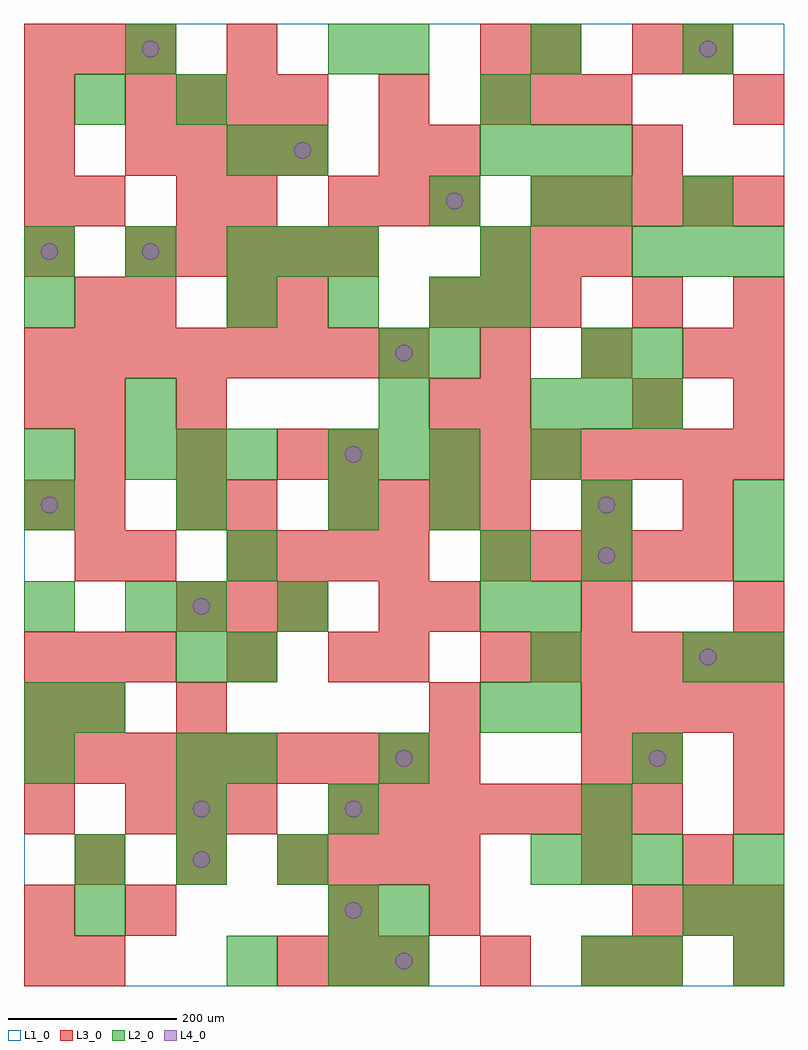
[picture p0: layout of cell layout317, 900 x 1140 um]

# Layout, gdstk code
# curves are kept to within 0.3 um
import gdstk
lib = gdstk.Library(unit=1e-6, precision=1e-09)
def R(c, l, rs):  # rectangles x0, y0, x1, y1
    for r in rs: c.add(gdstk.rectangle(r[:2], r[2:], *l))
def A(c, l, x, y, w, h, nx, ny, dx, dy):  # array of equal rectangles
    R(c, l, [(x+i*dx, y+j*dy, x+i*dx+w, y+j*dy+h) for i in range(nx) for j in range(ny)])
def P(c, l, *ps):  # polygons
    for p in ps: c.add(gdstk.Polygon(p, *l))
L1_0 = (1, 0)
L2_0 = (2, 0)
L3_0 = (3, 0)
L4_0 = (4, 0)

layout317 = lib.new_cell('layout317')
R(layout317, L1_0, [(0,0,900,1140)])
A(layout317, L2_0, 840, 0, 60, 60, 1, 3, 0, 60)
A(layout317, L2_0, 60, 120, 60, 60, 3, 1, 120, 0)
A(layout317, L2_0, 600, 120, 60, 60, 3, 2, 60, 540)
A(layout317, L2_0, 240, 240, 60, 60, 1, 3, 0, 120)
A(layout317, L2_0, 600, 300, 60, 60, 1, 3, 0, 60)
A(layout317, L2_0, 0, 420, 60, 60, 1, 3, 0, 180)
A(layout317, L2_0, 0, 540, 60, 60, 3, 1, 180, 0)
A(layout317, L2_0, 480, 540, 60, 60, 3, 1, 180, 0)
A(layout317, L2_0, 120, 600, 60, 60, 3, 1, 60, 0)
A(layout317, L2_0, 360, 600, 60, 60, 3, 1, 60, 0)
A(layout317, L2_0, 240, 780, 60, 60, 3, 1, 120, 0)
A(layout317, L2_0, 0, 840, 60, 60, 3, 1, 120, 0)
A(layout317, L2_0, 360, 840, 60, 60, 3, 1, 180, 0)
A(layout317, L2_0, 540, 960, 60, 60, 3, 1, 60, 0)
A(layout317, L2_0, 420, 1080, 60, 60, 3, 1, 180, 0)
R(layout317, L2_0, [(240,0,300,60), (360,0,420,60), (420,0,480,60), (660,0,720,60), (720,0,780,60), (60,60,120,120), (360,60,420,120), (420,60,480,120), (780,60,840,120), (180,180,240,240), (360,180,420,240), (660,180,720,240), (0,240,60,300), (180,240,240,300), (420,240,480,300), (720,240,780,300), (0,300,60,360), (60,300,120,360), (540,300,600,360), (180,360,240,420), (780,360,840,420), (840,360,900,420), (120,420,180,480), (180,420,240,480), (300,420,360,480), (540,420,600,480), (540,480,600,540), (660,480,720,540), (840,480,900,540), (600,600,660,660), (120,660,180,720), (420,660,480,720), (420,720,480,780), (480,720,540,780), (660,720,720,780), (720,720,780,780), (540,780,600,840), (300,840,360,900), (780,840,840,900), (840,840,900,900), (480,900,540,960), (600,900,660,960), (660,900,720,960), (780,900,840,960), (240,960,300,1020), (300,960,360,1020), (60,1020,120,1080), (180,1020,240,1080), (540,1020,600,1080), (120,1080,180,1140), (360,1080,420,1140)])
A(layout317, L3_0, 300, 0, 60, 60, 3, 1, 60, 0)
A(layout317, L3_0, 660, 0, 60, 60, 1, 3, 0, 120)
A(layout317, L3_0, 0, 60, 60, 60, 1, 3, 0, 120)
A(layout317, L3_0, 720, 60, 60, 60, 3, 1, 60, 0)
A(layout317, L3_0, 60, 120, 60, 60, 3, 2, 120, 480)
A(layout317, L3_0, 360, 120, 60, 60, 3, 2, 60, 780)
A(layout317, L3_0, 120, 180, 60, 60, 3, 1, 60, 0)
A(layout317, L3_0, 360, 180, 60, 60, 7, 1, 60, 0)
A(layout317, L3_0, 0, 240, 60, 60, 9, 1, 60, 0)
A(layout317, L3_0, 660, 300, 60, 60, 4, 1, 60, 0)
A(layout317, L3_0, 0, 360, 60, 60, 3, 2, 60, 720)
A(layout317, L3_0, 540, 360, 60, 60, 6, 1, 60, 0)
A(layout317, L3_0, 180, 420, 60, 60, 3, 1, 60, 0)
A(layout317, L3_0, 480, 420, 60, 60, 3, 1, 180, 0)
A(layout317, L3_0, 240, 480, 60, 60, 4, 1, 60, 0)
A(layout317, L3_0, 540, 480, 60, 60, 5, 1, 60, 0)
A(layout317, L3_0, 60, 540, 60, 60, 1, 4, 0, 120)
A(layout317, L3_0, 360, 540, 60, 60, 4, 1, 60, 0)
A(layout317, L3_0, 480, 600, 60, 60, 7, 1, 60, 0)
A(layout317, L3_0, 840, 660, 60, 60, 1, 3, 0, 60)
A(layout317, L3_0, 0, 720, 60, 60, 8, 1, 60, 0)
A(layout317, L3_0, 540, 720, 60, 60, 3, 1, 120, 0)
A(layout317, L3_0, 480, 780, 60, 60, 3, 1, 60, 0)
A(layout317, L3_0, 0, 840, 60, 60, 1, 4, 0, 60)
A(layout317, L3_0, 120, 840, 60, 60, 5, 1, 60, 0)
A(layout317, L3_0, 540, 840, 60, 60, 3, 2, 60, 180)
A(layout317, L3_0, 600, 900, 60, 60, 5, 1, 60, 0)
A(layout317, L3_0, 120, 960, 60, 60, 4, 2, 60, 60)
R(layout317, L3_0, [(0,0,60,60), (60,0,120,60), (540,0,600,60), (720,0,780,60), (840,0,900,60), (120,60,180,120), (360,60,420,120), (480,60,540,120), (780,120,840,180), (840,180,900,240), (720,240,780,300), (840,240,900,300), (60,300,120,360), (180,300,240,360), (480,300,540,360), (240,360,300,420), (360,360,420,420), (420,360,480,420), (420,420,480,480), (60,480,120,540), (120,480,180,540), (0,540,60,600), (180,540,240,600), (240,540,300,600), (660,540,720,600), (780,540,840,600), (360,600,420,660), (0,660,60,720), (180,660,240,720), (480,660,540,720), (540,660,600,720), (720,660,780,720), (120,780,180,840), (240,780,300,840), (300,780,360,840), (720,780,780,840), (180,900,240,960), (240,900,300,960), (420,960,480,1020), (480,960,540,1020), (720,960,780,1020), (420,1020,480,1080), (840,1020,900,1080), (240,1080,300,1140), (540,1080,600,1140), (600,1080,660,1140), (720,1080,780,1140), (780,1080,840,1140)])
P(layout317, L4_0, [(40,570),(39.239,573.827),(37.071,577.071),(33.827,579.239),(30,580),(26.173,579.239),(22.929,577.071),(20.761,573.827),(20,570),(20.761,566.173),(22.929,562.929),(26.173,560.761),(30,560),(33.827,560.761),(37.071,562.929),(39.239,566.173)],
  [(40,870),(39.239,873.827),(37.071,877.071),(33.827,879.239),(30,880),(26.173,879.239),(22.929,877.071),(20.761,873.827),(20,870),(20.761,866.173),(22.929,862.929),(26.173,860.761),(30,860),(33.827,860.761),(37.071,862.929),(39.239,866.173)],
  [(160,870),(159.239,873.827),(157.071,877.071),(153.827,879.239),(150,880),(146.173,879.239),(142.929,877.071),(140.761,873.827),(140,870),(140.761,866.173),(142.929,862.929),(146.173,860.761),(150,860),(153.827,860.761),(157.071,862.929),(159.239,866.173)],
  [(160,1110),(159.239,1113.827),(157.071,1117.071),(153.827,1119.239),(150,1120),(146.173,1119.239),(142.929,1117.071),(140.761,1113.827),(140,1110),(140.761,1106.173),(142.929,1102.929),(146.173,1100.761),(150,1100),(153.827,1100.761),(157.071,1102.929),(159.239,1106.173)],
  [(220,150),(219.239,153.827),(217.071,157.071),(213.827,159.239),(210,160),(206.173,159.239),(202.929,157.071),(200.761,153.827),(200,150),(200.761,146.173),(202.929,142.929),(206.173,140.761),(210,140),(213.827,140.761),(217.071,142.929),(219.239,146.173)],
  [(220,210),(219.239,213.827),(217.071,217.071),(213.827,219.239),(210,220),(206.173,219.239),(202.929,217.071),(200.761,213.827),(200,210),(200.761,206.173),(202.929,202.929),(206.173,200.761),(210,200),(213.827,200.761),(217.071,202.929),(219.239,206.173)],
  [(220,450),(219.239,453.827),(217.071,457.071),(213.827,459.239),(210,460),(206.173,459.239),(202.929,457.071),(200.761,453.827),(200,450),(200.761,446.173),(202.929,442.929),(206.173,440.761),(210,440),(213.827,440.761),(217.071,442.929),(219.239,446.173)],
  [(340,990),(339.239,993.827),(337.071,997.071),(333.827,999.239),(330,1000),(326.173,999.239),(322.929,997.071),(320.761,993.827),(320,990),(320.761,986.173),(322.929,982.929),(326.173,980.761),(330,980),(333.827,980.761),(337.071,982.929),(339.239,986.173)],
  [(400,90),(399.239,93.827),(397.071,97.071),(393.827,99.239),(390,100),(386.173,99.239),(382.929,97.071),(380.761,93.827),(380,90),(380.761,86.173),(382.929,82.929),(386.173,80.761),(390,80),(393.827,80.761),(397.071,82.929),(399.239,86.173)],
  [(400,210),(399.239,213.827),(397.071,217.071),(393.827,219.239),(390,220),(386.173,219.239),(382.929,217.071),(380.761,213.827),(380,210),(380.761,206.173),(382.929,202.929),(386.173,200.761),(390,200),(393.827,200.761),(397.071,202.929),(399.239,206.173)],
  [(400,630),(399.239,633.827),(397.071,637.071),(393.827,639.239),(390,640),(386.173,639.239),(382.929,637.071),(380.761,633.827),(380,630),(380.761,626.173),(382.929,622.929),(386.173,620.761),(390,620),(393.827,620.761),(397.071,622.929),(399.239,626.173)],
  [(460,30),(459.239,33.827),(457.071,37.071),(453.827,39.239),(450,40),(446.173,39.239),(442.929,37.071),(440.761,33.827),(440,30),(440.761,26.173),(442.929,22.929),(446.173,20.761),(450,20),(453.827,20.761),(457.071,22.929),(459.239,26.173)],
  [(460,270),(459.239,273.827),(457.071,277.071),(453.827,279.239),(450,280),(446.173,279.239),(442.929,277.071),(440.761,273.827),(440,270),(440.761,266.173),(442.929,262.929),(446.173,260.761),(450,260),(453.827,260.761),(457.071,262.929),(459.239,266.173)],
  [(460,750),(459.239,753.827),(457.071,757.071),(453.827,759.239),(450,760),(446.173,759.239),(442.929,757.071),(440.761,753.827),(440,750),(440.761,746.173),(442.929,742.929),(446.173,740.761),(450,740),(453.827,740.761),(457.071,742.929),(459.239,746.173)],
  [(520,930),(519.239,933.827),(517.071,937.071),(513.827,939.239),(510,940),(506.173,939.239),(502.929,937.071),(500.761,933.827),(500,930),(500.761,926.173),(502.929,922.929),(506.173,920.761),(510,920),(513.827,920.761),(517.071,922.929),(519.239,926.173)],
  [(700,510),(699.239,513.827),(697.071,517.071),(693.827,519.239),(690,520),(686.173,519.239),(682.929,517.071),(680.761,513.827),(680,510),(680.761,506.173),(682.929,502.929),(686.173,500.761),(690,500),(693.827,500.761),(697.071,502.929),(699.239,506.173)],
  [(700,570),(699.239,573.827),(697.071,577.071),(693.827,579.239),(690,580),(686.173,579.239),(682.929,577.071),(680.761,573.827),(680,570),(680.761,566.173),(682.929,562.929),(686.173,560.761),(690,560),(693.827,560.761),(697.071,562.929),(699.239,566.173)],
  [(760,270),(759.239,273.827),(757.071,277.071),(753.827,279.239),(750,280),(746.173,279.239),(742.929,277.071),(740.761,273.827),(740,270),(740.761,266.173),(742.929,262.929),(746.173,260.761),(750,260),(753.827,260.761),(757.071,262.929),(759.239,266.173)],
  [(820,390),(819.239,393.827),(817.071,397.071),(813.827,399.239),(810,400),(806.173,399.239),(802.929,397.071),(800.761,393.827),(800,390),(800.761,386.173),(802.929,382.929),(806.173,380.761),(810,380),(813.827,380.761),(817.071,382.929),(819.239,386.173)],
  [(820,1110),(819.239,1113.827),(817.071,1117.071),(813.827,1119.239),(810,1120),(806.173,1119.239),(802.929,1117.071),(800.761,1113.827),(800,1110),(800.761,1106.173),(802.929,1102.929),(806.173,1100.761),(810,1100),(813.827,1100.761),(817.071,1102.929),(819.239,1106.173)])

lib.write_gds('layout317.gds')
